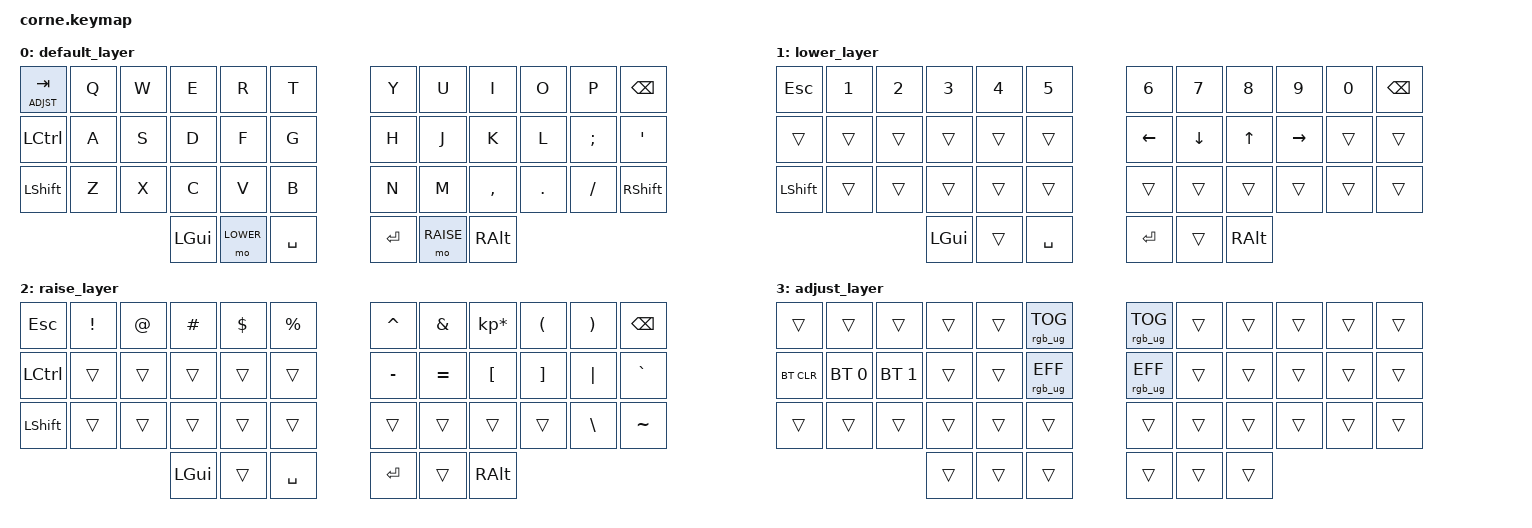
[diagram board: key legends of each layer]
/*
 * Copyright (c) 2020 The ZMK Contributors
 *
 * SPDX-License-Identifier: MIT
 */

#include <behaviors.dtsi>
#include <dt-bindings/zmk/keys.h>
#include <dt-bindings/zmk/bt.h>
#include <dt-bindings/zmk/rgb.h>

#define LOWER 1
#define RAISE 2
#define ADJST 3

/ {
        keymap {
                compatible = "zmk,keymap";

                default_layer {
                        bindings = <
   &lt ADJST TAB &kp Q &kp W &kp E &kp R &kp T   &kp Y &kp U  &kp I     &kp O   &kp P    &kp BSPC
   &kp LCTRL &kp A &kp S &kp D &kp F &kp G       &kp H &kp J  &kp K     &kp L   &kp SEMI &kp SQT
   &kp LSHFT &kp Z &kp X &kp C &kp V &kp B       &kp N &kp M  &kp COMMA &kp DOT &kp FSLH &kp RSHFT
                  &kp LGUI &mo LOWER &kp SPACE   &kp RET &mo RAISE &kp RALT
                        >;
                };
                
                lower_layer {
                        bindings = <
   &kp ESC    &kp N1       &kp N2       &kp N3       &kp N4       &kp N5            &kp N6   &kp N7   &kp N8 &kp N9    &kp N0 &kp BSPC
   &trans     &trans       &trans       &trans       &trans       &trans            &kp LEFT &kp DOWN &kp UP &kp RIGHT &trans &trans
   &kp LSHFT  &trans       &trans       &trans       &trans       &trans            &trans   &trans   &trans &trans    &trans &trans
                                        &kp LGUI     &trans       &kp SPACE         &kp RET &trans &kp RALT
                        >;
                };

                raise_layer {
                        bindings = <
   &kp  ESC  &kp EXCL  &kp AT  &kp HASH  &kp DLLR  &kp PRCNT   &kp CARET &kp AMPS  &kp KP_MULTIPLY &kp LPAR &kp RPAR &kp BSPC
   &kp LCTRL &trans    &trans  &trans    &trans    &trans      &kp MINUS &kp EQUAL &kp LBKT        &kp RBKT &kp PIPE &kp GRAVE
   &kp LSHFT &trans    &trans  &trans    &trans    &trans      &trans    &trans    &trans          &trans   &kp BSLH &kp TILDE
                                   &kp LGUI &trans &kp SPACE   &kp RET &trans &kp RALT
                        >;
                };

                adjust_layer {
                        bindings = <
   &trans     &trans       &trans       &trans       &trans       &rgb_ug RGB_TOG   &rgb_ug RGB_TOG &trans       &trans       &trans       &trans          &trans
   &bt BT_CLR &bt BT_SEL 0 &bt BT_SEL 1 &trans       &trans       &rgb_ug RGB_EFF   &rgb_ug RGB_EFF &trans       &trans       &trans       &trans          &trans
   &trans     &trans       &trans       &trans       &trans       &trans            &trans       &trans       &trans       &trans       &trans          &trans
                                        &trans       &trans       &trans            &trans       &trans       &trans
                        >;
                };
        };
};
